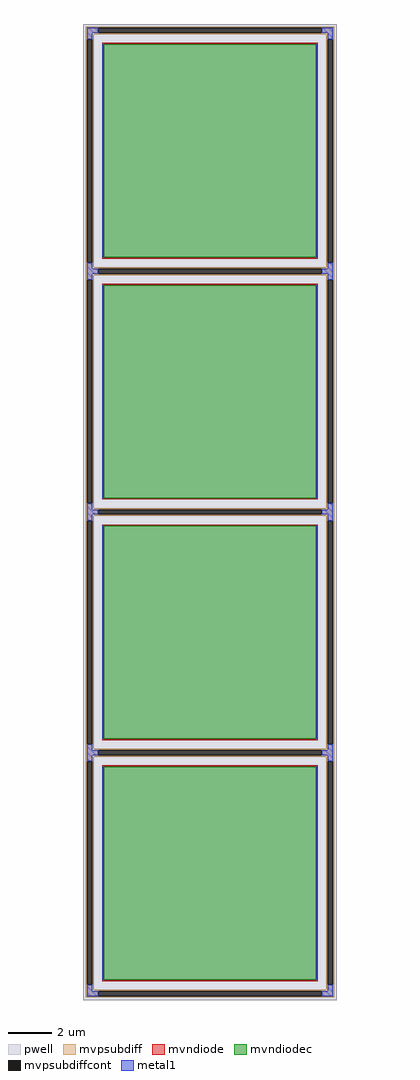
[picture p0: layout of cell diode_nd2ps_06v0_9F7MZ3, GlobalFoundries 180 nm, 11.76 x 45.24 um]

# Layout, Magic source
magic
tech gf180mcuD
magscale 1 10
<< pwell >>
rect -1176 -4524 1176 4524
<< mvpsubdiff >>
rect -1152 4487 1152 4500
rect -1152 4441 -1036 4487
rect 1036 4441 1152 4487
rect -1152 4428 1152 4441
rect -1152 4384 -1080 4428
rect -1152 2312 -1139 4384
rect -1093 2312 -1080 4384
rect 1080 4384 1152 4428
rect -1152 2268 -1080 2312
rect 1080 2312 1093 4384
rect 1139 2312 1152 4384
rect 1080 2268 1152 2312
rect -1152 2255 1152 2268
rect -1152 2209 -1036 2255
rect 1036 2209 1152 2255
rect -1152 2196 1152 2209
rect -1152 2152 -1080 2196
rect -1152 80 -1139 2152
rect -1093 80 -1080 2152
rect 1080 2152 1152 2196
rect -1152 36 -1080 80
rect 1080 80 1093 2152
rect 1139 80 1152 2152
rect 1080 36 1152 80
rect -1152 23 1152 36
rect -1152 -23 -1036 23
rect 1036 -23 1152 23
rect -1152 -36 1152 -23
rect -1152 -80 -1080 -36
rect -1152 -2152 -1139 -80
rect -1093 -2152 -1080 -80
rect 1080 -80 1152 -36
rect -1152 -2196 -1080 -2152
rect 1080 -2152 1093 -80
rect 1139 -2152 1152 -80
rect 1080 -2196 1152 -2152
rect -1152 -2209 1152 -2196
rect -1152 -2255 -1036 -2209
rect 1036 -2255 1152 -2209
rect -1152 -2268 1152 -2255
rect -1152 -2312 -1080 -2268
rect -1152 -4384 -1139 -2312
rect -1093 -4384 -1080 -2312
rect 1080 -2312 1152 -2268
rect -1152 -4428 -1080 -4384
rect 1080 -4384 1093 -2312
rect 1139 -4384 1152 -2312
rect 1080 -4428 1152 -4384
rect -1152 -4441 1152 -4428
rect -1152 -4487 -1036 -4441
rect 1036 -4487 1152 -4441
rect -1152 -4500 1152 -4487
<< mvpsubdiffcont >>
rect -1036 4441 1036 4487
rect -1139 2312 -1093 4384
rect 1093 2312 1139 4384
rect -1036 2209 1036 2255
rect -1139 80 -1093 2152
rect 1093 80 1139 2152
rect -1036 -23 1036 23
rect -1139 -2152 -1093 -80
rect 1093 -2152 1139 -80
rect -1036 -2255 1036 -2209
rect -1139 -4384 -1093 -2312
rect 1093 -4384 1139 -2312
rect -1036 -4487 1036 -4441
<< mvndiode >>
rect -1000 4335 1000 4348
rect -1000 2361 -987 4335
rect 987 2361 1000 4335
rect -1000 2348 1000 2361
rect -1000 2103 1000 2116
rect -1000 129 -987 2103
rect 987 129 1000 2103
rect -1000 116 1000 129
rect -1000 -129 1000 -116
rect -1000 -2103 -987 -129
rect 987 -2103 1000 -129
rect -1000 -2116 1000 -2103
rect -1000 -2361 1000 -2348
rect -1000 -4335 -987 -2361
rect 987 -4335 1000 -2361
rect -1000 -4348 1000 -4335
<< mvndiodec >>
rect -987 2361 987 4335
rect -987 129 987 2103
rect -987 -2103 987 -129
rect -987 -4335 987 -2361
<< metal1 >>
rect -1139 4441 -1036 4487
rect 1036 4441 1139 4487
rect -1139 4384 -1093 4441
rect 1093 4384 1139 4441
rect -998 2361 -987 4335
rect 987 2361 998 4335
rect -1139 2255 -1093 2312
rect 1093 2255 1139 2312
rect -1139 2209 -1036 2255
rect 1036 2209 1139 2255
rect -1139 2152 -1093 2209
rect 1093 2152 1139 2209
rect -998 129 -987 2103
rect 987 129 998 2103
rect -1139 23 -1093 80
rect 1093 23 1139 80
rect -1139 -23 -1036 23
rect 1036 -23 1139 23
rect -1139 -80 -1093 -23
rect 1093 -80 1139 -23
rect -998 -2103 -987 -129
rect 987 -2103 998 -129
rect -1139 -2209 -1093 -2152
rect 1093 -2209 1139 -2152
rect -1139 -2255 -1036 -2209
rect 1036 -2255 1139 -2209
rect -1139 -2312 -1093 -2255
rect 1093 -2312 1139 -2255
rect -998 -4335 -987 -2361
rect 987 -4335 998 -2361
rect -1139 -4441 -1093 -4384
rect 1093 -4441 1139 -4384
rect -1139 -4487 -1036 -4441
rect 1036 -4487 1139 -4441
<< properties >>
string diode_nd2ps_06v0_9F7MZ3 parameters
string FIXED_BBOX -1116 2232 1116 4464
string gencell diode_nd2ps_06v0
string library gf180mcu
string parameters w 10 l 10 area 100.0 peri 40.0 nx 1 ny 4 dummy 0 lmin 0.45 wmin 0.45 class diode elc 1 erc 1 etc 1 ebc 1 doverlap 1 full_metal 1 compatible {diode_nd2ps_03v3 diode_nd2ps_06v0}
<< end >>
